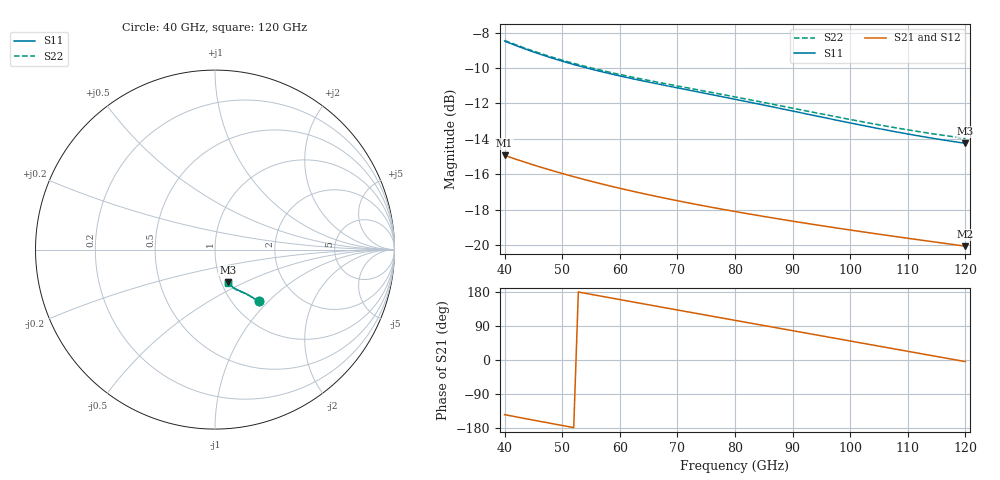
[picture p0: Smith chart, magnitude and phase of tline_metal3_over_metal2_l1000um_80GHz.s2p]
#  GHZ S DB R 50
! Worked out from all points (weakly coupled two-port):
!   101 points, 40 GHz to 120 GHz, reference 50 ohm
!   highest |S21| = -14.94 dB at 40 GHz (marker M1); lowest = -20.1 dB at 120 GHz (marker M2)
!   lowest |S11| = -14.3 dB at 120 GHz (marker M3), VSWR 1.48, Z = 53.7 - j20.1 ohm
!   |S11| at or under -10 dB: 54.27 GHz to end of sweep
!   |S22| runs from -14.0 to -8.4 dB; largest |S21 - S12| = 2e-14
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40  -8.48 -49.6  -14.94 -144.2  -14.94 -144.2  -8.44 -49.6
43.2  -8.88 -50.7  -15.29 -153.5  -15.29 -153.5  -8.84 -50.6
46.4  -9.25 -51.6  -15.62 -162.6  -15.62 -162.6  -9.20 -51.5
49.6  -9.58 -52.4  -15.93 -171.7  -15.93 -171.7  -9.52 -52.3
53.6  -9.94 -53.3  -16.28 177.2  -16.28 177.2  -9.88 -53.3
56.8  -10.21 -54.1  -16.55 168.3  -16.55 168.3  -10.13 -54.1
60  -10.45 -54.9  -16.80 159.4  -16.80 159.4  -10.37 -54.9
64  -10.73 -55.9  -17.09 148.4  -17.09 148.4  -10.64 -55.9
67.2  -10.94 -56.8  -17.32 139.7  -17.32 139.7  -10.84 -56.8
70.4  -11.15 -57.7  -17.53 130.9  -17.53 130.9  -11.04 -57.7
73.6  -11.35 -58.7  -17.73 122.1  -17.73 122.1  -11.24 -58.7
76.8  -11.56 -59.7  -17.93 113.4  -17.93 113.4  -11.44 -59.7
80  -11.77 -60.6  -18.11 104.7  -18.11 104.7  -11.63 -60.6
83.2  -11.98 -61.6  -18.29 95.9  -18.29 95.9  -11.84 -61.6
86.4  -12.19 -62.5  -18.47 87.2  -18.47 87.2  -12.04 -62.5
89.6  -12.41 -63.4  -18.64 78.5  -18.64 78.5  -12.25 -63.4
93.6  -12.68 -64.4  -18.84 67.6  -18.84 67.6  -12.50 -64.4
100.8  -13.16 -66.0  -19.20 48.0  -19.20 48.0  -12.96 -65.9
107.2  -13.56 -67.0  -19.50 30.6  -19.50 30.6  -13.34 -66.9
110.4  -13.75 -67.5  -19.64 21.9  -19.64 21.9  -13.52 -67.4
113.6  -13.93 -67.9  -19.79 13.1  -19.79 13.1  -13.68 -67.7
120  -14.26 -68.7  -20.07 -4.3  -20.07 -4.3  -13.98 -68.4
